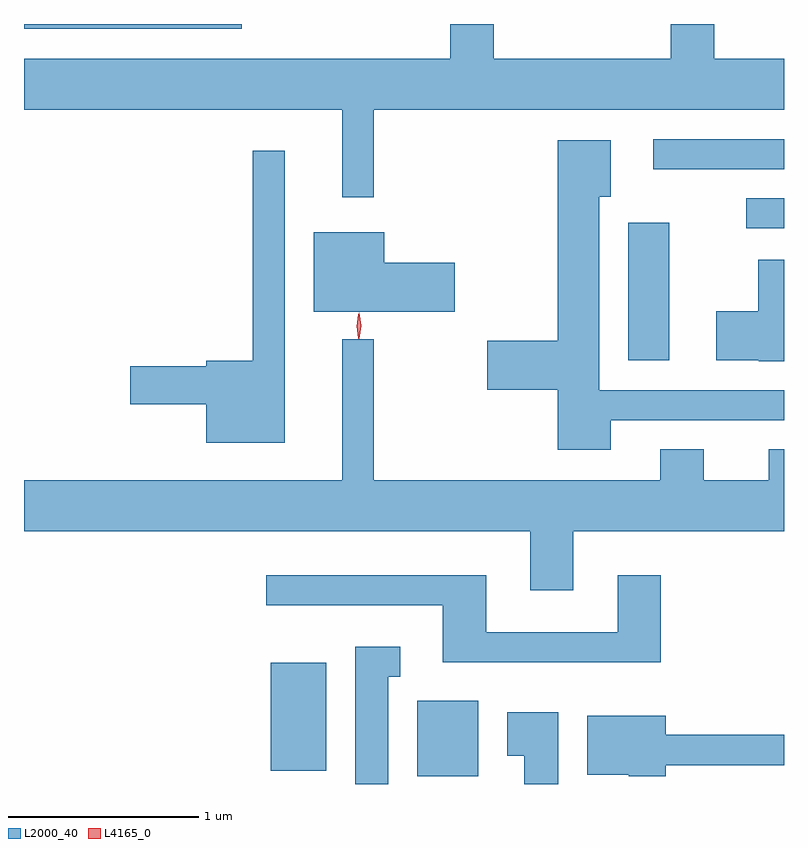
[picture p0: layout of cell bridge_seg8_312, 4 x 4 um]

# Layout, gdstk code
import gdstk
lib = gdstk.Library(unit=1e-6, precision=1e-09)
def R(c, l, rs):  # rectangles x0, y0, x1, y1
    for r in rs: c.add(gdstk.rectangle(r[:2], r[2:], *l))
def P(c, l, *ps):  # polygons
    for p in ps: c.add(gdstk.Polygon(p, *l))
L2000_40 = (2000, 40)
L4165_0 = (4165, 0)

bridge_seg8_312 = lib.new_cell('bridge_seg8_312')
R(bridge_seg8_312, L2000_40, [(987.486,1886.186,987.809,1886.584), (986.716,1886.216,987.009,1886.784), (988.596,1888.376,988.814,1889.099), (989.218,1889.071,989.417,1889.229), (988.728,1889.381,989.417,1889.539), (985.417,1890.121,986.564,1890.146)])
P(bridge_seg8_312, L2000_40, [(987.259,1889.696),(989.417,1889.696),(989.417,1889.964),(989.049,1889.964),(989.049,1890.146),(988.821,1890.146),(988.821,1889.964),(987.889,1889.964),(987.889,1890.146),(987.661,1890.146),(987.661,1889.964),(985.417,1889.964),(985.417,1889.696),(987.091,1889.696),(987.091,1889.233),(987.259,1889.233)],
  [(988.504,1888.061),(989.417,1888.061),(989.417,1888.219),(988.444,1888.219),(988.444,1889.236),(988.504,1889.236),(988.504,1889.534),(988.226,1889.534),(988.226,1888.479),(987.856,1888.479),(987.856,1888.221),(988.226,1888.221),(988.226,1887.906),(988.504,1887.906)],
  [(986.789,1889.478),(986.621,1889.478),(986.621,1888.374),(986.376,1888.374),(986.376,1888.344),(985.976,1888.344),(985.976,1888.146),(986.376,1888.146),(986.376,1887.941),(986.789,1887.941)],
  [(987.684,1888.889),(987.314,1888.889),(987.314,1889.049),(986.941,1889.049),(986.941,1888.631),(987.684,1888.631)],
  [(989.417,1888.904),(989.281,1888.904),(989.281,1888.634),(989.061,1888.634),(989.061,1888.376),(989.285,1888.376),(989.285,1888.371),(989.417,1888.371)],
  [(988.309,1887.476),(989.417,1887.476),(989.417,1887.909),(989.336,1887.909),(989.336,1887.744),(988.994,1887.744),(988.994,1887.909),(988.766,1887.909),(988.766,1887.744),(987.259,1887.744),(987.259,1888.488),(987.091,1888.488),(987.091,1887.744),(985.417,1887.744),(985.417,1887.476),(988.081,1887.476),(988.081,1887.166),(988.309,1887.166)],
  [(988.769,1887.244),(988.541,1887.244),(988.541,1886.944),(987.849,1886.944),(987.849,1887.244),(986.693,1887.244),(986.693,1887.086),(987.621,1887.086),(987.621,1886.786),(988.769,1886.786)],
  [(987.334,1886.711),(987.398,1886.711),(987.398,1886.869),(987.161,1886.869),(987.161,1886.146),(987.334,1886.146)],
  [(988.229,1886.524),(987.961,1886.524),(987.961,1886.296),(988.051,1886.296),(988.051,1886.146),(988.229,1886.146)],
  [(988.794,1886.246),(989.417,1886.246),(989.417,1886.404),(988.794,1886.404),(988.794,1886.504),(988.381,1886.504),(988.381,1886.196),(988.6,1886.196),(988.6,1886.186),(988.794,1886.186)])
P(bridge_seg8_312, L4165_0, [(987.18,1888.49),(987.18,1888.49),(987.171,1888.558),(987.181,1888.626),(987.182,1888.626),(987.182,1888.626),(987.191,1888.558),(987.181,1888.49)],
  [(987.177,1888.493),(987.168,1888.556),(987.177,1888.619),(987.178,1888.62),(987.178,1888.619),(987.188,1888.556),(987.178,1888.493),(987.178,1888.493)])

lib.write_gds('bridge_seg8_312.gds')
